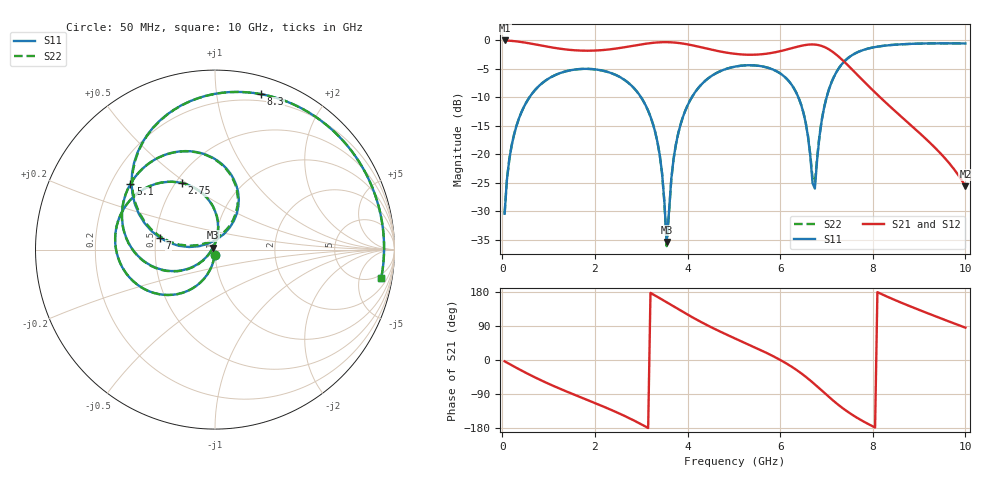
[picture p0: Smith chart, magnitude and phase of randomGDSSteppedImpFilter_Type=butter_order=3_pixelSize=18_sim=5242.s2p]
! freq	dB(S11)	phase(S11)	dB(S12)	phase(S12)
!  dB(S21)	phase(S21)	dB(S22)	phase(S22)
!S-par simulation data
#  GHz  S  DB  R 50
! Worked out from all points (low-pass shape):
!   200 points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, 50 MHz to 10 GHz, reference 50 ohm
!   highest |S21| = -0.01 dB at 50 MHz (marker M1); lowest = -25.6 dB at 10 GHz (marker M2)
!   |S21| within 3 dB of the highest: start of sweep to 7.286 GHz
!   lowest |S11| = -35.4 dB at 3.55 GHz (marker M3), VSWR 1.03, Z = 48.7 + j1.11 ohm
!   |S11| at or under -10 dB: start of sweep to 585.5 MHz; 2.998 GHz to 4.091 GHz (1.093 GHz wide, 30.8 % of centre); 6.394 GHz to 7.002 GHz (608 MHz wide, 9.08 % of centre)
!   |S22| runs from -36.1 to -0.5 dB; largest |S21 - S12| = 0
!   S11 on the Smith chart (normalised r, x): 50 MHz: 0.99, -0.06; 2.75 GHz: 0.54, +0.48; 5.1 GHz: 0.28, +0.32; 7 GHz: 0.53, +0.08; 8.3 GHz: 0.14, +1.33; 10 GHz: 4, -11
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0.05  -30.40 -93.5  -0.01 -3.5  -0.01 -3.5  -30.40 -93.5
0.2  -18.51 -104.0  -0.08 -13.6  -0.08 -13.6  -18.51 -104.0
0.5  -11.14 -123.7  -0.39 -33.2  -0.39 -33.2  -11.14 -123.7
1.75  -4.99 168.5  -1.80 -101.2  -1.80 -101.2  -4.99 168.5
2.75  -7.63 116.7  -1.05 -154.0  -1.05 -154.0  -7.63 116.6
3.4  -20.11 80.8  -0.33 163.1  -0.33 163.1  -20.13 80.0
3.55  -35.36 138.1  -0.31 152.2  -0.31 152.2  -36.09 136.9
3.7  -20.71 -138.5  -0.36 141.3  -0.36 141.3  -20.74 -137.4
3.95  -12.35 -150.5  -0.62 123.4  -0.62 123.4  -12.35 -150.0
5.05  -4.56 145.0  -2.38 55.5  -2.38 55.5  -4.56 145.3
5.1  -4.49 142.3  -2.42 52.8  -2.42 52.8  -4.50 142.6
5.75  -4.83 106.8  -2.28 16.1  -2.28 16.1  -4.83 107.2
6.3  -8.44 71.8  -1.26 -21.8  -1.26 -21.8  -8.43 72.6
6.55  -14.39 56.6  -0.80 -44.0  -0.80 -44.0  -14.34 58.6
6.7  -25.03 81.8  -0.71 -59.1  -0.71 -59.1  -24.21 85.9
6.75  -25.98 138.9  -0.73 -64.4  -0.73 -64.4  -24.91 136.2
7  -10.06 167.9  -1.33 -91.7  -1.33 -91.7  -10.03 166.6
7.45  -3.20 128.7  -4.26 -135.9  -4.26 -135.9  -3.20 128.2
8.3  -0.88 73.6  -11.05 167.7  -11.05 167.7  -0.88 73.3
8.35  -0.84 70.9  -11.43 165.0  -11.43 165.0  -0.84 70.7
9.2  -0.53 28.8  -17.68 122.7  -17.68 122.7  -0.53 28.7
10  -0.54 -9.5  -25.60 85.3  -25.60 85.3  -0.54 -9.6
